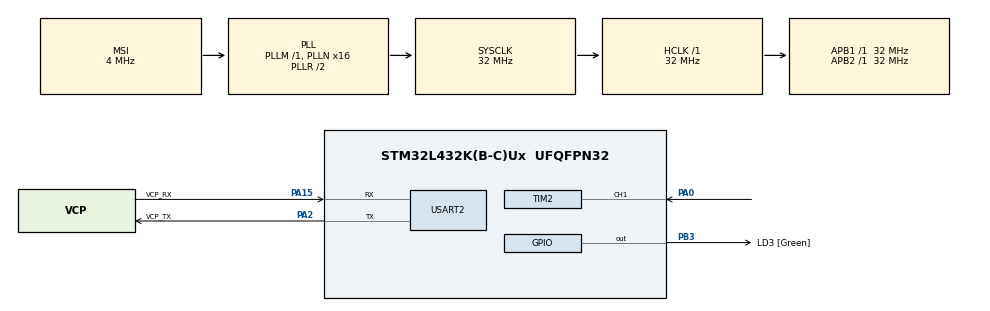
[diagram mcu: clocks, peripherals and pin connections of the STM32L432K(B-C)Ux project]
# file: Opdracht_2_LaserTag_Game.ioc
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Mcu.Family=STM32L4
Mcu.Name=STM32L432K(B-C)Ux
Mcu.Package=UFQFPN32
NVIC.PriorityGroup=NVIC_PRIORITYGROUP_4
NVIC.TIM2_IRQn=true\:0\:0\:false\:false\:true\:true\:true\:true
PA0.Signal=S_TIM2_CH1
PA13\ (JTMS-SWDIO).GPIO_Label=SWDIO
PA13\ (JTMS-SWDIO).Mode=Serial_Wire
PA13\ (JTMS-SWDIO).Signal=SYS_JTMS-SWDIO
PA14\ (JTCK-SWCLK).GPIO_Label=SWCLK
PA14\ (JTCK-SWCLK).Mode=Serial_Wire
PA14\ (JTCK-SWCLK).Signal=SYS_JTCK-SWCLK
PA15\ (JTDI).GPIO_Label=VCP_RX
PA15\ (JTDI).Mode=Asynchronous
PA15\ (JTDI).Signal=USART2_RX
PA2.GPIO_Label=VCP_TX
PA2.Mode=Asynchronous
PA2.Signal=USART2_TX
PB3\ (JTDO-TRACESWO).GPIO_Label=LD3 [Green]
PB3\ (JTDO-TRACESWO).Signal=GPIO_Output
PC14-OSC32_IN\ (PC14).Mode=LSE-External-Oscillator
PC14-OSC32_IN\ (PC14).Signal=RCC_OSC32_IN
PC15-OSC32_OUT\ (PC15).Mode=LSE-External-Oscillator
PC15-OSC32_OUT\ (PC15).Signal=RCC_OSC32_OUT
ProjectManager.HeapSize=0x200
ProjectManager.StackSize=0x400
ProjectManager.TargetToolchain=MDK-ARM V5.32
RCC.AHBFreq_Value=32000000
RCC.APB1Freq_Value=32000000
RCC.APB1TimFreq_Value=32000000
RCC.APB2Freq_Value=32000000
RCC.APB2TimFreq_Value=32000000
RCC.CortexFreq_Value=32000000
RCC.HCLKFreq_Value=32000000
RCC.HSE_VALUE=8000000
RCC.HSI16_VALUE=16000000
RCC.HSI48_VALUE=48000000
RCC.HSI_VALUE=16000000
RCC.MSI_VALUE=4000000
RCC.PLLMUL=RCC_PLLMUL_4
RCC.PLLN=16
RCC.SYSCLKFreq_VALUE=32000000
RCC.SYSCLKSource=RCC_SYSCLKSOURCE_PLLCLK
RCC.VCOOutputFreq_Value=64000000
SH.S_TIM2_CH1.0=TIM2_CH1,PWM_Input_1
TIM2.Prescaler=31
USART2.VirtualMode-Asynchronous=VM_ASYNC
VP_TIM2_VS_ClockSourceINT.Mode=Internal
board=NUCLEO-L432KC

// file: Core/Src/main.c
/* USER CODE BEGIN Header */
/**
  ******************************************************************************
  * @file           : main.c
  * @brief          : Main program body
  ******************************************************************************
  * @attention
  *
  * Copyright (c) 2026 STMicroelectronics.
  * All rights reserved.
  *
  * This software is licensed under terms that can be found in the LICENSE file
  * in the root directory of this software component.
  * If no LICENSE file comes with this software, it is provided AS-IS.
  *
  ******************************************************************************
  */
/* USER CODE END Header */
#include "main.h"

/* USER CODE BEGIN Includes */
#include "rc5_decode.h"
#include <stdio.h>
/* USER CODE END Includes */

/* USER CODE BEGIN PD */

#define RX_FW_TAG "RXDBG-V7"

#define RC5_MIN_1T_US 640U
#define RC5_MAX_1T_US 1140U
#define RC5_MIN_2T_US 1340U
#define RC5_MAX_2T_US 2220U
#define RC5_TIMEOUT_US 3600U

/* USER CODE END PD */

TIM_HandleTypeDef htim2;

UART_HandleTypeDef huart2;

/* USER CODE BEGIN PV */

extern volatile uint32_t g_rc5_edge_count;
extern volatile uint32_t g_rc5_last_rise_us;
extern volatile uint32_t g_rc5_last_fall_us;
extern volatile uint32_t g_rc5_last_edge_us;
extern volatile uint8_t g_rc5_last_edge_is_rising;
extern volatile uint8_t g_rc5_new_pulse;

/* USER CODE END PV */

void SystemClock_Config(void);
static void MX_GPIO_Init(void);
static void MX_USART2_UART_Init(void);
static void MX_TIM2_Init(void);

/* USER CODE BEGIN 0 */

/**
 * @brief  Leid printf() om naar USART2 (ST-Link VCP -> PuTTY).
 *         __io_putchar = GCC/newlib (CubeIDE)
 *         fputc        = Keil MicroLib
 */
int __io_putchar(int ch)
{
  HAL_UART_Transmit(&huart2, (uint8_t *)&ch, 1, 100);
  return ch;
}

#include <stdio.h>
int fputc(int ch, FILE *f)
{
  HAL_UART_Transmit(&huart2, (uint8_t *)&ch, 1, 100);
  return ch;
}

/* USER CODE END 0 */

int main(void)
{

  HAL_Init();
  SystemClock_Config();
  MX_GPIO_Init();
  MX_USART2_UART_Init();
  MX_TIM2_Init();

  /* USER CODE BEGIN 2 */
  RC5_Init_Timing();

  HAL_TIM_IC_Start_IT(&htim2, TIM_CHANNEL_1);
  HAL_TIM_IC_Start_IT(&htim2, TIM_CHANNEL_2);
  __HAL_TIM_URS_ENABLE(&htim2);
  __HAL_TIM_ENABLE_IT(&htim2, TIM_IT_UPDATE);

  char boot_buf[128];
  int boot_len = sprintf(boot_buf,
                         "[RC5] %s gestart (active-low input) build=%s %s\r\n",
                         RX_FW_TAG,
                         __DATE__,
                         __TIME__);
  HAL_UART_Transmit(&huart2, (uint8_t*)boot_buf, boot_len, 1000);
  /* USER CODE END 2 */

  /* USER CODE BEGIN WHILE */
  RC5_Frame_t frame;
  char buf[128];
  uint32_t dbg_counter = 0;
  uint32_t last_status_tick = HAL_GetTick();
  uint32_t last_debug_tick = HAL_GetTick();
  uint32_t last_edge_count = g_rc5_edge_count;
  while (1)
  {
    if ((g_rc5_new_pulse != 0U) && ((HAL_GetTick() - last_debug_tick) >= 80U))
    {
      uint32_t rise_us = g_rc5_last_rise_us;
      uint32_t fall_us = g_rc5_last_fall_us;
      uint32_t edge_us = g_rc5_last_edge_us;
      uint8_t edge_is_rising = g_rc5_last_edge_is_rising;
      uint16_t packet_data = RC5TmpPacket.data;
      uint8_t bits_left = RC5TmpPacket.bitCount;
      uint8_t bits_done = (bits_left <= 12U) ? (uint8_t)(12U - bits_left) : 0U;
      char bitview[14];
      for (uint8_t i = 0; i < 13U; i++)
      {
        bitview[i] = (((packet_data >> (12U - i)) & 0x1U) != 0U) ? '1' : '0';
      }
      bitview[13] = '\0';
      const char *rise_class = ((rise_us >= RC5_MIN_1T_US) && (rise_us <= RC5_MAX_1T_US)) ? "1T" :
                               (((rise_us >= RC5_MIN_2T_US) && (rise_us <= RC5_MAX_2T_US)) ? "2T" : "OUT");
      const char *fall_class = ((fall_us >= RC5_MIN_1T_US) && (fall_us <= RC5_MAX_1T_US)) ? "1T" :
                               (((fall_us >= RC5_MIN_2T_US) && (fall_us <= RC5_MAX_2T_US)) ? "2T" : "OUT");
      const char *edge_class = ((edge_us >= RC5_MIN_1T_US) && (edge_us <= RC5_MAX_1T_US)) ? "1T" :
               (((edge_us >= RC5_MIN_2T_US) && (edge_us <= RC5_MAX_2T_US)) ? "2T" : "OUT");
      const char *edge_name = (edge_is_rising != 0U) ? "R" : "F";

      int dbg_len = sprintf(buf,
                "[RC5DBG][%lu] edges=%lu src=%s:%luus(%s) rise=%luus(%s) fall=%luus(%s) bits=%s done=%u left=%u data=0x%04X st=0x%02X lb=%u\r\n",
                            (unsigned long)dbg_counter++,
                            (unsigned long)g_rc5_edge_count,
                edge_name,
                (unsigned long)edge_us,
                edge_class,
                            (unsigned long)rise_us,
                            rise_class,
                            (unsigned long)fall_us,
                            fall_class,
                            bitview,
                            (unsigned int)bits_done,
                            (unsigned int)bits_left,
                            packet_data,
                            (unsigned int)RC5TmpPacket.status,
                            (unsigned int)RC5TmpPacket.lastBit);
      HAL_UART_Transmit(&huart2, (uint8_t*)buf, dbg_len, 1000);

      g_rc5_new_pulse = 0;
      last_debug_tick = HAL_GetTick();
      last_status_tick = HAL_GetTick();
    }

    if (g_rc5_edge_count != last_edge_count)
    {
      last_edge_count = g_rc5_edge_count;
      last_status_tick = HAL_GetTick();
    }

    if (RC5FrameReceived == YES)
    {
      char translate_msg[] = "[RC5] Signaal wordt vertaald\r\n";
      HAL_UART_Transmit(&huart2, (uint8_t*)translate_msg, sizeof(translate_msg) - 1, 1000);

      RC5_Decode(&frame);
      int len = sprintf(buf, "[RC5] Adres: 0x%02X | Commando: 0x%02X | Toggle: %d | Field: %d\r\n",
                        frame.Address, frame.Command, frame.ToggleBit, frame.FieldBit);
      HAL_UART_Transmit(&huart2, (uint8_t*)buf, len, 1000);
      last_status_tick = HAL_GetTick();
    }
    else if ((HAL_GetTick() - last_status_tick) >= 1000U)
    {
      int alive_len = sprintf(buf,
                              "[RC5][%lu] %s build=%s %s Geen geldig frame ontvangen\r\n",
                              (unsigned long)dbg_counter++,
                              RX_FW_TAG,
                              __DATE__,
                              __TIME__);
      HAL_UART_Transmit(&huart2, (uint8_t*)buf, alive_len, 1000);
      last_status_tick = HAL_GetTick();
    }
    /* USER CODE END WHILE */
  }
}

void SystemClock_Config(void)
{
  RCC_OscInitTypeDef RCC_OscInitStruct = {0};
  RCC_ClkInitTypeDef RCC_ClkInitStruct = {0};

  /** Configure the main internal regulator output voltage
  */
  if (HAL_PWREx_ControlVoltageScaling(PWR_REGULATOR_VOLTAGE_SCALE1) != HAL_OK)
  {
    Error_Handler();
  }

  /** Configure LSE Drive Capability
  */
  HAL_PWR_EnableBkUpAccess();
  __HAL_RCC_LSEDRIVE_CONFIG(RCC_LSEDRIVE_LOW);

  /** Initializes the RCC Oscillators according to the specified parameters
  * in the RCC_OscInitTypeDef structure.
  */
  RCC_OscInitStruct.OscillatorType = RCC_OSCILLATORTYPE_LSE|RCC_OSCILLATORTYPE_MSI;
  RCC_OscInitStruct.LSEState = RCC_LSE_ON;
  RCC_OscInitStruct.MSIState = RCC_MSI_ON;
  RCC_OscInitStruct.MSICalibrationValue = 0;
  RCC_OscInitStruct.MSIClockRange = RCC_MSIRANGE_6;
  RCC_OscInitStruct.PLL.PLLState = RCC_PLL_ON;
  RCC_OscInitStruct.PLL.PLLSource = RCC_PLLSOURCE_MSI;
  RCC_OscInitStruct.PLL.PLLM = 1;
  RCC_OscInitStruct.PLL.PLLN = 16;
  RCC_OscInitStruct.PLL.PLLP = RCC_PLLP_DIV7;
  RCC_OscInitStruct.PLL.PLLQ = RCC_PLLQ_DIV2;
  RCC_OscInitStruct.PLL.PLLR = RCC_PLLR_DIV2;
  if (HAL_RCC_OscConfig(&RCC_OscInitStruct) != HAL_OK)
  {
    Error_Handler();
  }

  /** Initializes the CPU, AHB and APB buses clocks
  */
  RCC_ClkInitStruct.ClockType = RCC_CLOCKTYPE_HCLK|RCC_CLOCKTYPE_SYSCLK
                              |RCC_CLOCKTYPE_PCLK1|RCC_CLOCKTYPE_PCLK2;
  RCC_ClkInitStruct.SYSCLKSource = RCC_SYSCLKSOURCE_PLLCLK;
  RCC_ClkInitStruct.AHBCLKDivider = RCC_SYSCLK_DIV1;
  RCC_ClkInitStruct.APB1CLKDivider = RCC_HCLK_DIV1;
  RCC_ClkInitStruct.APB2CLKDivider = RCC_HCLK_DIV1;

  if (HAL_RCC_ClockConfig(&RCC_ClkInitStruct, FLASH_LATENCY_1) != HAL_OK)
  {
    Error_Handler();
  }

  /** Enable MSI Auto calibration
  */
  HAL_RCCEx_EnableMSIPLLMode();
}

static void MX_TIM2_Init(void)
{

  TIM_ClockConfigTypeDef sClockSourceConfig = {0};
  TIM_SlaveConfigTypeDef sSlaveConfig = {0};
  TIM_IC_InitTypeDef sConfigIC = {0};
  TIM_MasterConfigTypeDef sMasterConfig = {0};

  htim2.Instance = TIM2;
  htim2.Init.Prescaler = 31;
  htim2.Init.CounterMode = TIM_COUNTERMODE_UP;
  htim2.Init.Period = RC5_TIMEOUT_US;
  htim2.Init.ClockDivision = TIM_CLOCKDIVISION_DIV1;
  htim2.Init.AutoReloadPreload = TIM_AUTORELOAD_PRELOAD_DISABLE;
  if (HAL_TIM_Base_Init(&htim2) != HAL_OK)
  {
    Error_Handler();
  }
  sClockSourceConfig.ClockSource = TIM_CLOCKSOURCE_INTERNAL;
  if (HAL_TIM_ConfigClockSource(&htim2, &sClockSourceConfig) != HAL_OK)
  {
    Error_Handler();
  }
  if (HAL_TIM_IC_Init(&htim2) != HAL_OK)
  {
    Error_Handler();
  }
  sSlaveConfig.SlaveMode = TIM_SLAVEMODE_RESET;
  sSlaveConfig.InputTrigger = TIM_TS_TI1FP1;
  sSlaveConfig.TriggerPolarity = TIM_INPUTCHANNELPOLARITY_FALLING;
  sSlaveConfig.TriggerPrescaler = TIM_ICPSC_DIV1;
  sSlaveConfig.TriggerFilter = 0;
  if (HAL_TIM_SlaveConfigSynchro(&htim2, &sSlaveConfig) != HAL_OK)
  {
    Error_Handler();
  }
  sConfigIC.ICPolarity = TIM_INPUTCHANNELPOLARITY_FALLING;
  sConfigIC.ICSelection = TIM_ICSELECTION_DIRECTTI;
  sConfigIC.ICPrescaler = TIM_ICPSC_DIV1;
  sConfigIC.ICFilter = 0;
  if (HAL_TIM_IC_ConfigChannel(&htim2, &sConfigIC, TIM_CHANNEL_1) != HAL_OK)
  {
    Error_Handler();
  }
  sConfigIC.ICPolarity = TIM_INPUTCHANNELPOLARITY_RISING;
  sConfigIC.ICSelection = TIM_ICSELECTION_INDIRECTTI;
  if (HAL_TIM_IC_ConfigChannel(&htim2, &sConfigIC, TIM_CHANNEL_2) != HAL_OK)
  {
    Error_Handler();
  }
  sMasterConfig.MasterOutputTrigger = TIM_TRGO_RESET;
  sMasterConfig.MasterSlaveMode = TIM_MASTERSLAVEMODE_DISABLE;
  if (HAL_TIMEx_MasterConfigSynchronization(&htim2, &sMasterConfig) != HAL_OK)
  {
    Error_Handler();
  }

}

static void MX_USART2_UART_Init(void)
{

  huart2.Instance = USART2;
  huart2.Init.BaudRate = 115200;
  huart2.Init.WordLength = UART_WORDLENGTH_8B;
  huart2.Init.StopBits = UART_STOPBITS_1;
  huart2.Init.Parity = UART_PARITY_NONE;
  huart2.Init.Mode = UART_MODE_TX_RX;
  huart2.Init.HwFlowCtl = UART_HWCONTROL_NONE;
  huart2.Init.OverSampling = UART_OVERSAMPLING_16;
  huart2.Init.OneBitSampling = UART_ONE_BIT_SAMPLE_DISABLE;
  huart2.AdvancedInit.AdvFeatureInit = UART_ADVFEATURE_NO_INIT;
  if (HAL_UART_Init(&huart2) != HAL_OK)
  {
    Error_Handler();
  }

}

static void MX_GPIO_Init(void)
{
  GPIO_InitTypeDef GPIO_InitStruct = {0};

  /* GPIO Ports Clock Enable */
  __HAL_RCC_GPIOC_CLK_ENABLE();
  __HAL_RCC_GPIOA_CLK_ENABLE();
  __HAL_RCC_GPIOB_CLK_ENABLE();

  /*Configure GPIO pin Output Level */
  HAL_GPIO_WritePin(LD3_GPIO_Port, LD3_Pin, GPIO_PIN_RESET);

  /*Configure GPIO pin : LD3_Pin */
  GPIO_InitStruct.Pin = LD3_Pin;
  GPIO_InitStruct.Mode = GPIO_MODE_OUTPUT_PP;
  GPIO_InitStruct.Pull = GPIO_NOPULL;
  GPIO_InitStruct.Speed = GPIO_SPEED_FREQ_LOW;
  HAL_GPIO_Init(LD3_GPIO_Port, &GPIO_InitStruct);

}

void Error_Handler(void)
{
  __disable_irq();
  while (1)
  {
  }
}
